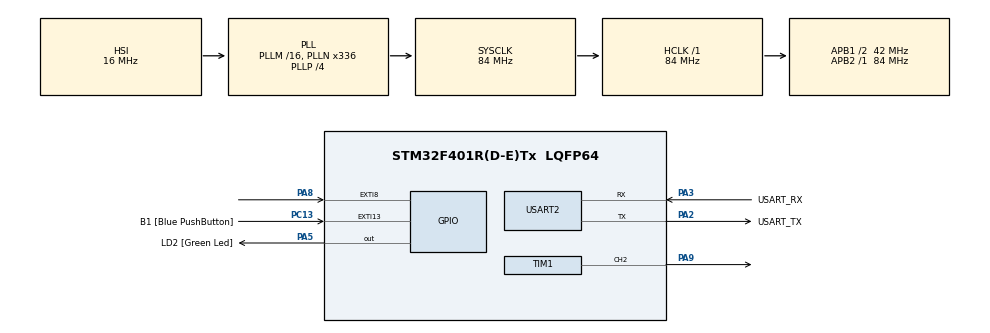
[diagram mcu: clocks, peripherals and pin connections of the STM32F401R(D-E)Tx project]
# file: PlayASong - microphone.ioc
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Mcu.Family=STM32F4
Mcu.Name=STM32F401R(D-E)Tx
Mcu.Package=LQFP64
NVIC.EXTI9_5_IRQn=true\:0\:0\:false\:false\:true\:true\:true
NVIC.PriorityGroup=NVIC_PRIORITYGROUP_0
PA13.GPIO_Label=TMS
PA13.Mode=Serial_Wire
PA13.Signal=SYS_JTMS-SWDIO
PA14.GPIO_Label=TCK
PA14.Mode=Serial_Wire
PA14.Signal=SYS_JTCK-SWCLK
PA2.GPIO_Label=USART_TX
PA2.GPIO_Mode=GPIO_MODE_AF_PP
PA2.GPIO_PuPd=GPIO_NOPULL
PA2.GPIO_Speed=GPIO_SPEED_FREQ_LOW
PA2.Mode=Asynchronous
PA2.Signal=USART2_TX
PA3.GPIO_Label=USART_RX
PA3.GPIO_Mode=GPIO_MODE_AF_PP
PA3.GPIO_PuPd=GPIO_NOPULL
PA3.GPIO_Speed=GPIO_SPEED_FREQ_LOW
PA3.Mode=Asynchronous
PA3.Signal=USART2_RX
PA5.GPIO_Label=LD2 [Green Led]
PA5.GPIO_Mode=GPIO_MODE_OUTPUT_PP
PA5.GPIO_PuPd=GPIO_NOPULL
PA5.GPIO_Speed=GPIO_SPEED_FREQ_LOW
PA5.Signal=GPIO_Output
PA8.Signal=GPXTI8
PA9.Signal=S_TIM1_CH2
PB3.GPIO_Label=SWO
PB3.Signal=SYS_JTDO-SWO
PC13-ANTI_TAMP.GPIO_Label=B1 [Blue PushButton]
PC13-ANTI_TAMP.GPIO_ModeDefaultEXTI=GPIO_MODE_IT_FALLING
PC13-ANTI_TAMP.GPIO_PuPd=GPIO_NOPULL
PC13-ANTI_TAMP.Signal=GPXTI13
PC14-OSC32_IN.Mode=LSE-External-Oscillator
PC14-OSC32_IN.Signal=RCC_OSC32_IN
PC15-OSC32_OUT.Mode=LSE-External-Oscillator
PC15-OSC32_OUT.Signal=RCC_OSC32_OUT
PH0\ -\ OSC_IN.Mode=HSE-External-Clock-Source
PH0\ -\ OSC_IN.Signal=RCC_OSC_IN
PH1\ -\ OSC_OUT.Mode=HSE-External-Clock-Source
PH1\ -\ OSC_OUT.Signal=RCC_OSC_OUT
ProjectManager.HeapSize=0x200
ProjectManager.StackSize=0x400
ProjectManager.TargetToolchain=STM32CubeIDE
RCC.48MHZClocksFreq_Value=48000000
RCC.AHBFreq_Value=84000000
RCC.APB1CLKDivider=RCC_HCLK_DIV2
RCC.APB1Freq_Value=42000000
RCC.APB1TimFreq_Value=84000000
RCC.APB2Freq_Value=84000000
RCC.APB2TimFreq_Value=84000000
RCC.CortexFreq_Value=84000000
RCC.HCLKFreq_Value=84000000
RCC.HSE_VALUE=8000000
RCC.HSI_VALUE=16000000
RCC.PLLN=336
RCC.PLLP=RCC_PLLP_DIV4
RCC.PLLQ=7
RCC.SYSCLKFreq_VALUE=84000000
RCC.SYSCLKSource=RCC_SYSCLKSOURCE_PLLCLK
RCC.VCOOutputFreq_Value=336000000
SH.S_TIM1_CH2.0=TIM1_CH2,PWM Generation2 CH2
TIM1.Channel-PWM\ Generation2\ CH2=TIM_CHANNEL_2
TIM1.Period=1700
TIM1.Prescaler=100-1
TIM1.Pulse-PWM\ Generation2\ CH2=850
USART2.VirtualMode=VM_ASYNC
VP_TIM1_VS_ClockSourceINT.Mode=Internal
board=NUCLEO-F401RE

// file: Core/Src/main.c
/* USER CODE BEGIN Header */
/**
 ******************************************************************************
 * @file           : main.c
 * @brief          : Main program body
 ******************************************************************************
 * @attention
 *
 * <h2><center>&copy; Copyright (c) 2021 STMicroelectronics.
 * All rights reserved.</center></h2>
 *
 * This software component is licensed by ST under BSD 3-Clause license,
 * the "License"; You may not use this file except in compliance with the
 * License. You may obtain a copy of the License at:
 *                        opensource.org/licenses/BSD-3-Clause
 *
 ******************************************************************************
 */
/* USER CODE END Header */
#include "main.h"

/* USER CODE BEGIN PD */
#define CROMA_DURATION 125
#define LED_PIN GPIOA,GPIO_PIN_5
/* USER CODE END PD */

TIM_HandleTypeDef htim1;

UART_HandleTypeDef huart2;

/* USER CODE BEGIN PV */
int playing = 0;

typedef struct NoteStruct {
	int period;
	int pulse;
} Note;

const Note Do4 = { 3206 - 1 };
const Note Do4D = { 3032 - 1 };
const Note Re4 = { 2857 - 1 };
const Note Re4D = { 2700 - 1 };
const Note Mi4 = { 2545 - 1 };
const Note Fa4 = { 2407 - 1 };
const Note Fa4D = { 2270 - 1 };
const Note Sol4 = { 2142 - 1 };
const Note Sol4D = { 2024 - 1 };
const Note La4 = { 1909 - 1 };
const Note La4D = { 1802 - 1 };
const Note Si4 = { 1700 - 1 };
const Note Do5 = { 1596 - 1 };

typedef struct NotePentagramStruct {
	Note note;
	int duration;
} NotePentagram;

// song
NotePentagram song[] = { { Sol4, 6 }, { La4, 2 }, { Sol4, 4 }, { Fa4, 4 }, {
		Mi4, 4 }, { Fa4, 4 }, { Sol4, 8 }, { Re4, 4 }, { Mi4, 4 }, { Fa4, 8 }, {
		Mi4, 4 }, { Fa4, 4 }, { Sol4, 8 }, { Sol4, 6 }, { La4, 2 }, { Sol4, 4 },
		{ Fa4, 4 }, { Mi4, 4 }, { Fa4, 4 }, { Sol4, 8 }, { Re4, 8 },
		{ Sol4, 8 }, { Mi4, 4 }, { Do4, 12 } };

/* USER CODE END PV */

void SystemClock_Config(void);
static void MX_GPIO_Init(void);
static void MX_USART2_UART_Init(void);
static void MX_TIM1_Init(void);
/* USER CODE BEGIN PFP */

void setChannel(int period, int pulse) {
	// configuring the period
	htim1.Init.Period = period;
	HAL_TIM_Base_Init(&htim1);

	// configuring the pulse
	TIM_OC_InitTypeDef sConfigOC = { 0 };
	sConfigOC.OCMode = TIM_OCMODE_PWM1;
	sConfigOC.Pulse = pulse;
	sConfigOC.OCPolarity = TIM_OCPOLARITY_HIGH;
	sConfigOC.OCNPolarity = TIM_OCNPOLARITY_HIGH;
	sConfigOC.OCFastMode = TIM_OCFAST_DISABLE;
	sConfigOC.OCIdleState = TIM_OCIDLESTATE_RESET;
	sConfigOC.OCNIdleState = TIM_OCNIDLESTATE_RESET;
	HAL_TIM_PWM_ConfigChannel(&htim1, &sConfigOC, TIM_CHANNEL_2);
}

void playNote(NotePentagram note) {
	setChannel(note.note.period, note.note.period / 2);
	HAL_TIM_PWM_Start(&htim1, TIM_CHANNEL_2);
	HAL_Delay(note.duration * CROMA_DURATION);
	HAL_TIM_PWM_Stop(&htim1, TIM_CHANNEL_2);
}
/* USER CODE END PFP */

int main(void) {

	/* MCU Configuration--------------------------------------------------------*/

	/* Reset of all peripherals, Initializes the Flash interface and the Systick. */
	HAL_Init();

	/* Configure the system clock */
	SystemClock_Config();

	/* Initialize all configured peripherals */
	MX_GPIO_Init();
	MX_USART2_UART_Init();
	MX_TIM1_Init();
	/* USER CODE BEGIN 2 */
	int i = 0;
	while (i < sizeof(song) / sizeof(NotePentagram)) {
		if (playing) {
			playNote(song[i]);
			i++;
		}
	}
	/* USER CODE END 2 */

	/* Infinite loop */
	while (1) {

	}
}

void SystemClock_Config(void) {
	RCC_OscInitTypeDef RCC_OscInitStruct = { 0 };
	RCC_ClkInitTypeDef RCC_ClkInitStruct = { 0 };

	/** Configure the main internal regulator output voltage
	 */
	__HAL_RCC_PWR_CLK_ENABLE();
	__HAL_PWR_VOLTAGESCALING_CONFIG(PWR_REGULATOR_VOLTAGE_SCALE2);
	/** Initializes the RCC Oscillators according to the specified parameters
	 * in the RCC_OscInitTypeDef structure.
	 */
	RCC_OscInitStruct.OscillatorType = RCC_OSCILLATORTYPE_HSI;
	RCC_OscInitStruct.HSIState = RCC_HSI_ON;
	RCC_OscInitStruct.HSICalibrationValue = RCC_HSICALIBRATION_DEFAULT;
	RCC_OscInitStruct.PLL.PLLState = RCC_PLL_ON;
	RCC_OscInitStruct.PLL.PLLSource = RCC_PLLSOURCE_HSI;
	RCC_OscInitStruct.PLL.PLLM = 16;
	RCC_OscInitStruct.PLL.PLLN = 336;
	RCC_OscInitStruct.PLL.PLLP = RCC_PLLP_DIV4;
	RCC_OscInitStruct.PLL.PLLQ = 7;
	if (HAL_RCC_OscConfig(&RCC_OscInitStruct) != HAL_OK) {
		Error_Handler();
	}
	/** Initializes the CPU, AHB and APB buses clocks
	 */
	RCC_ClkInitStruct.ClockType = RCC_CLOCKTYPE_HCLK | RCC_CLOCKTYPE_SYSCLK
			| RCC_CLOCKTYPE_PCLK1 | RCC_CLOCKTYPE_PCLK2;
	RCC_ClkInitStruct.SYSCLKSource = RCC_SYSCLKSOURCE_PLLCLK;
	RCC_ClkInitStruct.AHBCLKDivider = RCC_SYSCLK_DIV1;
	RCC_ClkInitStruct.APB1CLKDivider = RCC_HCLK_DIV2;
	RCC_ClkInitStruct.APB2CLKDivider = RCC_HCLK_DIV1;

	if (HAL_RCC_ClockConfig(&RCC_ClkInitStruct, FLASH_LATENCY_2) != HAL_OK) {
		Error_Handler();
	}
}

static void MX_TIM1_Init(void) {

	TIM_ClockConfigTypeDef sClockSourceConfig = { 0 };
	TIM_MasterConfigTypeDef sMasterConfig = { 0 };
	TIM_OC_InitTypeDef sConfigOC = { 0 };
	TIM_BreakDeadTimeConfigTypeDef sBreakDeadTimeConfig = { 0 };

	htim1.Instance = TIM1;
	htim1.Init.Prescaler = 100 - 1;
	htim1.Init.CounterMode = TIM_COUNTERMODE_UP;
	htim1.Init.Period = 1700;
	htim1.Init.ClockDivision = TIM_CLOCKDIVISION_DIV1;
	htim1.Init.RepetitionCounter = 0;
	htim1.Init.AutoReloadPreload = TIM_AUTORELOAD_PRELOAD_DISABLE;
	if (HAL_TIM_Base_Init(&htim1) != HAL_OK) {
		Error_Handler();
	}
	sClockSourceConfig.ClockSource = TIM_CLOCKSOURCE_INTERNAL;
	if (HAL_TIM_ConfigClockSource(&htim1, &sClockSourceConfig) != HAL_OK) {
		Error_Handler();
	}
	if (HAL_TIM_PWM_Init(&htim1) != HAL_OK) {
		Error_Handler();
	}
	sMasterConfig.MasterOutputTrigger = TIM_TRGO_RESET;
	sMasterConfig.MasterSlaveMode = TIM_MASTERSLAVEMODE_DISABLE;
	if (HAL_TIMEx_MasterConfigSynchronization(&htim1, &sMasterConfig)
			!= HAL_OK) {
		Error_Handler();
	}
	sConfigOC.OCMode = TIM_OCMODE_PWM1;
	sConfigOC.Pulse = 850;
	sConfigOC.OCPolarity = TIM_OCPOLARITY_HIGH;
	sConfigOC.OCNPolarity = TIM_OCNPOLARITY_HIGH;
	sConfigOC.OCFastMode = TIM_OCFAST_DISABLE;
	sConfigOC.OCIdleState = TIM_OCIDLESTATE_RESET;
	sConfigOC.OCNIdleState = TIM_OCNIDLESTATE_RESET;
	if (HAL_TIM_PWM_ConfigChannel(&htim1, &sConfigOC, TIM_CHANNEL_2)
			!= HAL_OK) {
		Error_Handler();
	}
	sBreakDeadTimeConfig.OffStateRunMode = TIM_OSSR_DISABLE;
	sBreakDeadTimeConfig.OffStateIDLEMode = TIM_OSSI_DISABLE;
	sBreakDeadTimeConfig.LockLevel = TIM_LOCKLEVEL_OFF;
	sBreakDeadTimeConfig.DeadTime = 0;
	sBreakDeadTimeConfig.BreakState = TIM_BREAK_DISABLE;
	sBreakDeadTimeConfig.BreakPolarity = TIM_BREAKPOLARITY_HIGH;
	sBreakDeadTimeConfig.AutomaticOutput = TIM_AUTOMATICOUTPUT_DISABLE;
	if (HAL_TIMEx_ConfigBreakDeadTime(&htim1, &sBreakDeadTimeConfig)
			!= HAL_OK) {
		Error_Handler();
	}
	HAL_TIM_MspPostInit(&htim1);

}

static void MX_USART2_UART_Init(void) {

	huart2.Instance = USART2;
	huart2.Init.BaudRate = 115200;
	huart2.Init.WordLength = UART_WORDLENGTH_8B;
	huart2.Init.StopBits = UART_STOPBITS_1;
	huart2.Init.Parity = UART_PARITY_NONE;
	huart2.Init.Mode = UART_MODE_TX_RX;
	huart2.Init.HwFlowCtl = UART_HWCONTROL_NONE;
	huart2.Init.OverSampling = UART_OVERSAMPLING_16;
	if (HAL_UART_Init(&huart2) != HAL_OK) {
		Error_Handler();
	}

}

static void MX_GPIO_Init(void) {
	GPIO_InitTypeDef GPIO_InitStruct = { 0 };

	/* GPIO Ports Clock Enable */
	__HAL_RCC_GPIOC_CLK_ENABLE();
	__HAL_RCC_GPIOH_CLK_ENABLE();
	__HAL_RCC_GPIOA_CLK_ENABLE();
	__HAL_RCC_GPIOB_CLK_ENABLE();

	/*Configure GPIO pin Output Level */
	HAL_GPIO_WritePin(LD2_GPIO_Port, LD2_Pin, GPIO_PIN_RESET);

	/*Configure GPIO pin : B1_Pin */
	GPIO_InitStruct.Pin = B1_Pin;
	GPIO_InitStruct.Mode = GPIO_MODE_IT_FALLING;
	GPIO_InitStruct.Pull = GPIO_NOPULL;
	HAL_GPIO_Init(B1_GPIO_Port, &GPIO_InitStruct);

	/*Configure GPIO pin : LD2_Pin */
	GPIO_InitStruct.Pin = LD2_Pin;
	GPIO_InitStruct.Mode = GPIO_MODE_OUTPUT_PP;
	GPIO_InitStruct.Pull = GPIO_NOPULL;
	GPIO_InitStruct.Speed = GPIO_SPEED_FREQ_LOW;
	HAL_GPIO_Init(LD2_GPIO_Port, &GPIO_InitStruct);

	/*Configure GPIO pin : PA8 */
	GPIO_InitStruct.Pin = GPIO_PIN_8;
	GPIO_InitStruct.Mode = GPIO_MODE_IT_RISING;
	GPIO_InitStruct.Pull = GPIO_NOPULL;
	HAL_GPIO_Init(GPIOA, &GPIO_InitStruct);

	/* EXTI interrupt init*/
	HAL_NVIC_SetPriority(EXTI9_5_IRQn, 0, 0);
	HAL_NVIC_EnableIRQ(EXTI9_5_IRQn);

}

/* USER CODE BEGIN 4 */
void HAL_GPIO_EXTI_Callback(uint16_t GPIO_Pin) {
	switch (GPIO_Pin) {
	case GPIO_PIN_8:
		playing ^= 1;
		/*if (playing) {
			playing = 0;
		} else {
			playing = 1;
		}*/
		break;
	}
}
/* USER CODE END 4 */

void Error_Handler(void) {
	__disable_irq();
	while (1) {
	}
}

/************************ (C) COPYRIGHT STMicroelectronics *****END OF FILE****/
